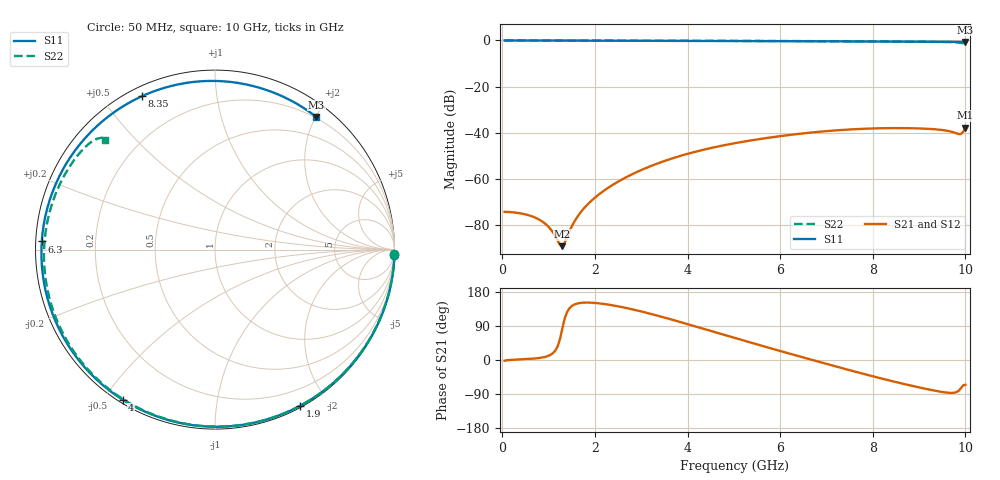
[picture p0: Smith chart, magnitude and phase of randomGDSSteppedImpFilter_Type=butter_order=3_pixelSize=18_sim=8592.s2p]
! freq	dB(S11)	phase(S11)	dB(S12)	phase(S12)
!  dB(S21)	phase(S21)	dB(S22)	phase(S22)
!S-par simulation data
#  GHz  S  DB  R 50
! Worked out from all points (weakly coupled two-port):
!   200 points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, 50 MHz to 10 GHz, reference 50 ohm
!   highest |S21| = -37.71 dB at 10 GHz (marker M1); lowest = -89.1 dB at 1.3 GHz (marker M2)
!   lowest |S11| = -0.6 dB at 10 GHz (marker M3), VSWR 27.50, Z = 9.2 + j100 ohm
!   |S11| at or under -10 dB: nowhere
!   |S22| runs from -1.3 to 0.0 dB; largest |S21 - S12| = 0
!   S11 on the Smith chart (normalised r, x): 50 MHz: 0, -68; 1.9 GHz: 0.02, -1.68; 4 GHz: 0.01, -0.56; 6.3 GHz: 0.02, +0.02; 8.35 GHz: 0.04, +0.63; 10 GHz: 0.18, +2.01
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0.05  -0.00 -1.7  -74.23 -1.9  -74.23 -1.9  -0.00 -1.3
0.6  -0.01 -20.0  -75.90 3.0  -75.90 3.0  -0.01 -15.1
0.95  -0.03 -31.5  -79.77 9.1  -79.77 9.1  -0.03 -23.8
1.3  -0.05 -42.7  -89.10 84.9  -89.10 84.9  -0.04 -32.4
1.5  -0.06 -49.1  -80.52 142.4  -80.52 142.4  -0.05 -37.2
1.75  -0.07 -56.9  -73.01 151.3  -73.01 151.3  -0.06 -43.3
1.9  -0.08 -61.5  -69.87 151.4  -69.87 151.4  -0.06 -46.8
2.2  -0.09 -70.6  -64.98 147.8  -64.98 147.8  -0.07 -53.9
2.55  -0.10 -81.0  -60.59 140.4  -60.59 140.4  -0.08 -62.1
3.4  -0.13 -105.3  -52.92 115.4  -52.92 115.4  -0.11 -81.3
4  -0.16 -121.6  -49.10 94.6  -49.10 94.6  -0.13 -94.4
5.05  -0.21 -149.4  -44.39 56.9  -44.39 56.9  -0.18 -116.5
5.7  -0.25 -166.6  -42.27 34.1  -42.27 34.1  -0.22 -129.9
6.3  -0.30 177.3  -40.69 13.5  -40.69 13.5  -0.26 -142.1
6.7  -0.33 166.2  -39.82 -0.1  -39.82 -0.1  -0.29 -150.3
7.5  -0.40 142.8  -38.56 -26.8  -38.56 -26.8  -0.36 -167.1
8.35  -0.48 115.5  -37.97 -53.8  -37.97 -53.8  -0.45 174.4
8.75  -0.51 101.5  -37.99 -65.5  -37.99 -65.5  -0.50 165.1
9.15  -0.55 86.7  -38.23 -76.3  -38.23 -76.3  -0.57 155.5
9.5  -0.59 73.0  -38.79 -84.4  -38.79 -84.4  -0.64 146.5
9.9  -0.62 56.8  -40.56 -75.1  -40.56 -75.1  -1.03 135.4
10  -0.63 52.6  -37.71 -65.5  -37.71 -65.5  -1.26 135.0
